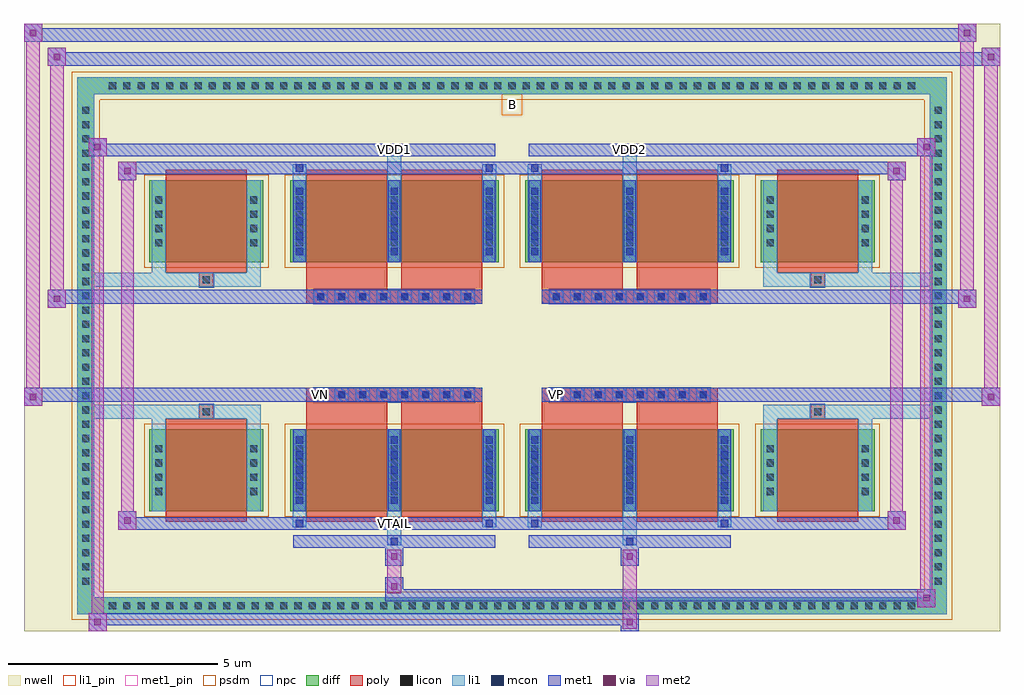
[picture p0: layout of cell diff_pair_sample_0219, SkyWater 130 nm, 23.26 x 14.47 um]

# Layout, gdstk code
import gdstk
lib = gdstk.Library(unit=1e-6, precision=5e-09)
def R(c, l, rs):  # rectangles x0, y0, x1, y1
    for r in rs: c.add(gdstk.rectangle(r[:2], r[2:], *l))
def A(c, l, x, y, w, h, nx, ny, dx, dy):  # array of equal rectangles
    R(c, l, [(x+i*dx, y+j*dy, x+i*dx+w, y+j*dy+h) for i in range(nx) for j in range(ny)])
def P(c, l, *ps):  # polygons
    for p in ps: c.add(gdstk.Polygon(p, *l))
nwell = (64, 20)
diff = (65, 20)
poly = (66, 20)
licon = (66, 44)
li1_pin = (67, 16)
li1 = (67, 20)
mcon = (67, 44)
met1_pin = (68, 16)
met1 = (68, 20)
via = (68, 44)
met2 = (69, 20)
psdm = (94, 20)
npc = (95, 20)

diff_pair_sample_0219 = lib.new_cell('diff_pair_sample_0219')
R(diff_pair_sample_0219, nwell, [(-11.63,-6.8,11.63,7.67), (-8.95,-4.99,-0.01,-0.805), (0.01,-4.99,8.95,-0.805), (-8.95,0.805,-0.01,4.99), (0.01,0.805,8.95,4.99)])
A(diff_pair_sample_0219, diff, -9.725, -6.4, 0.41, 0.41, 57, 2, 0.34, 12.39)
A(diff_pair_sample_0219, diff, -10.36, -5.815, 0.41, 0.41, 1, 34, 0, 0.34)
A(diff_pair_sample_0219, diff, 9.95, -5.815, 0.41, 0.41, 1, 34, 0, 0.34)
R(diff_pair_sample_0219, diff, [(-9.725,-6.4,9.725,-5.99), (-10.36,-5.815,-9.95,5.815), (9.95,-5.815,10.36,5.815), (-8.64,-3.945,-5.93,-1.985), (-5.29,-3.945,-0.32,-1.985), (0.32,-3.945,5.29,-1.985), (5.93,-3.945,8.64,-1.985), (-8.64,1.985,-5.93,3.945), (-5.29,1.985,-0.32,3.945), (0.32,1.985,5.29,3.945), (5.93,1.985,8.64,3.945), (-9.725,5.99,9.725,6.4)])
P(diff_pair_sample_0219, diff, [(10.36,6.4),(-10.36,6.4),(-10.36,-5.99),(-9.95,-5.99),(-9.95,5.99),(9.95,5.99),(9.95,-5.99),(-9.95,-5.99),(-10.36,-5.99),(-10.36,-6.4),(10.36,-6.4)])
A(diff_pair_sample_0219, poly, -4.72, -1.335, 0.33, 0.33, 8, 2, 0.5, 2.34)
A(diff_pair_sample_0219, poly, 0.89, -1.335, 0.33, 0.33, 8, 2, 0.5, 2.34)
R(diff_pair_sample_0219, poly, [(-8.25,-4.195,-6.32,-1.735), (-4.9,-4.195,-2.97,-1.735), (-2.64,-4.195,-0.71,-1.735), (0.71,-4.195,2.64,-1.735), (2.97,-4.195,4.9,-1.735), (6.32,-4.195,8.25,-1.735), (-7.45,-1.735,-7.12,-1.405), (-7.45,-1.735,-7.12,-1.405), (-4.9,-1.735,-2.97,-1.335), (-2.64,-1.735,-0.71,-1.335), (0.71,-1.735,2.64,-1.335), (2.97,-1.735,4.9,-1.335), (7.12,-1.735,7.45,-1.405), (7.12,-1.735,7.45,-1.405), (-4.9,-1.335,-0.71,-1.005), (0.71,-1.335,4.9,-1.005), (-4.9,1.005,-0.71,1.335), (0.71,1.005,4.9,1.335), (-4.9,1.335,-2.97,1.735), (-2.64,1.335,-0.71,1.735), (0.71,1.335,2.64,1.735), (2.97,1.335,4.9,1.735), (-7.45,1.405,-7.12,1.735), (-7.45,1.405,-7.12,1.735), (7.12,1.405,7.45,1.735), (7.12,1.405,7.45,1.735), (-8.25,1.735,-6.32,4.195), (-4.9,1.735,-2.97,4.195), (-2.64,1.735,-0.71,4.195), (0.71,1.735,2.64,4.195), (2.97,1.735,4.9,4.195), (6.32,1.735,8.25,4.195)])
A(diff_pair_sample_0219, licon, -9.605, -6.28, 0.17, 0.17, 57, 2, 0.34, 12.39)
A(diff_pair_sample_0219, licon, -10.24, -5.695, 0.17, 0.17, 1, 34, 0, 0.34)
A(diff_pair_sample_0219, licon, 10.07, -5.695, 0.17, 0.17, 1, 34, 0, 0.34)
A(diff_pair_sample_0219, licon, -8.5, -3.56, 0.17, 0.17, 1, 4, 0, 0.34)
A(diff_pair_sample_0219, licon, -6.24, -3.56, 0.17, 0.17, 1, 4, 0, 0.34)
A(diff_pair_sample_0219, licon, -5.15, -3.56, 0.17, 0.17, 3, 4, 2.26, 0.34)
A(diff_pair_sample_0219, licon, 0.46, -3.56, 0.17, 0.17, 3, 4, 2.26, 0.34)
A(diff_pair_sample_0219, licon, 6.07, -3.56, 0.17, 0.17, 1, 4, 0, 0.34)
A(diff_pair_sample_0219, licon, 8.33, -3.56, 0.17, 0.17, 1, 4, 0, 0.34)
A(diff_pair_sample_0219, licon, -4.64, -1.255, 0.17, 0.17, 8, 2, 0.5, 2.34)
A(diff_pair_sample_0219, licon, 0.97, -1.255, 0.17, 0.17, 8, 2, 0.5, 2.34)
A(diff_pair_sample_0219, licon, -8.5, 2.37, 0.17, 0.17, 1, 4, 0, 0.34)
A(diff_pair_sample_0219, licon, -6.24, 2.37, 0.17, 0.17, 1, 4, 0, 0.34)
A(diff_pair_sample_0219, licon, -5.15, 2.37, 0.17, 0.17, 3, 4, 2.26, 0.34)
A(diff_pair_sample_0219, licon, 0.46, 2.37, 0.17, 0.17, 3, 4, 2.26, 0.34)
A(diff_pair_sample_0219, licon, 6.07, 2.37, 0.17, 0.17, 1, 4, 0, 0.34)
A(diff_pair_sample_0219, licon, 8.33, 2.37, 0.17, 0.17, 1, 4, 0, 0.34)
R(diff_pair_sample_0219, licon, [(-7.37,-1.655,-7.2,-1.485), (7.2,-1.655,7.37,-1.485), (-7.37,1.485,-7.2,1.655), (7.2,1.485,7.37,1.655)])
R(diff_pair_sample_0219, li1_pin, [(-0.25,5.49,0.25,5.99)])
A(diff_pair_sample_0219, li1, -9.685, -6.36, 0.33, 0.33, 57, 2, 0.34, 12.39)
A(diff_pair_sample_0219, li1, -10.32, -5.775, 0.33, 0.33, 1, 34, 0, 0.34)
A(diff_pair_sample_0219, li1, 9.99, -5.775, 0.33, 0.33, 1, 34, 0, 0.34)
A(diff_pair_sample_0219, li1, -5.23, -3.945, 0.33, 1.96, 3, 2, 2.26, 5.93)
A(diff_pair_sample_0219, li1, 0.38, -3.945, 0.33, 1.96, 3, 2, 2.26, 5.93)
A(diff_pair_sample_0219, li1, -5.15, -3.77, 0.17, 0.17, 3, 5, 2.26, 0.36)
A(diff_pair_sample_0219, li1, -5.15, -3.77, 0.17, 1.61, 3, 2, 2.26, 5.93)
A(diff_pair_sample_0219, li1, 0.46, -3.77, 0.17, 0.17, 3, 5, 2.26, 0.36)
A(diff_pair_sample_0219, li1, 0.46, -3.77, 0.17, 1.61, 3, 2, 2.26, 5.93)
A(diff_pair_sample_0219, li1, -8.58, -3.64, 0.33, 0.33, 1, 4, 0, 0.34)
A(diff_pair_sample_0219, li1, -6.32, -3.64, 0.33, 0.33, 1, 4, 0, 0.34)
A(diff_pair_sample_0219, li1, -5.23, -3.64, 0.33, 0.33, 3, 4, 2.26, 0.34)
A(diff_pair_sample_0219, li1, 0.38, -3.64, 0.33, 0.33, 3, 4, 2.26, 0.34)
A(diff_pair_sample_0219, li1, 5.99, -3.64, 0.33, 0.33, 1, 4, 0, 0.34)
A(diff_pair_sample_0219, li1, 8.25, -3.64, 0.33, 0.33, 1, 4, 0, 0.34)
A(diff_pair_sample_0219, li1, -4.72, -1.335, 0.33, 0.33, 8, 2, 0.5, 2.34)
A(diff_pair_sample_0219, li1, 0.89, -1.335, 0.33, 0.33, 8, 2, 0.5, 2.34)
A(diff_pair_sample_0219, li1, -5.15, 2.16, 0.17, 0.17, 3, 5, 2.26, 0.36)
A(diff_pair_sample_0219, li1, 0.46, 2.16, 0.17, 0.17, 3, 5, 2.26, 0.36)
A(diff_pair_sample_0219, li1, -8.58, 2.29, 0.33, 0.33, 1, 4, 0, 0.34)
A(diff_pair_sample_0219, li1, -6.32, 2.29, 0.33, 0.33, 1, 4, 0, 0.34)
A(diff_pair_sample_0219, li1, -5.23, 2.29, 0.33, 0.33, 3, 4, 2.26, 0.34)
A(diff_pair_sample_0219, li1, 0.38, 2.29, 0.33, 0.33, 3, 4, 2.26, 0.34)
A(diff_pair_sample_0219, li1, 5.99, 2.29, 0.33, 0.33, 1, 4, 0, 0.34)
A(diff_pair_sample_0219, li1, 8.25, 2.29, 0.33, 0.33, 1, 4, 0, 0.34)
R(diff_pair_sample_0219, li1, [(-10.36,-6.4,-9.95,-5.99), (-10.36,-6.4,-9.95,-5.99), (-9.95,-6.4,9.95,-5.99), (9.95,-6.4,10.36,-5.99), (9.95,-6.4,10.36,-5.99), (-10.36,-5.99,-9.95,5.99), (9.95,-5.99,10.36,5.99), (-2.97,-4.75,-2.64,-3.945), (-2.89,-4.75,-2.72,-4.58), (2.64,-4.75,2.97,-3.945), (2.72,-4.75,2.89,-4.58), (-5.23,-4.32,-4.9,-3.945), (-5.15,-4.32,-4.98,-4.15), (-0.71,-4.32,-0.38,-3.945), (-0.63,-4.32,-0.46,-4.15), (0.38,-4.32,0.71,-3.945), (0.46,-4.32,0.63,-4.15), (4.9,-4.32,5.23,-3.945), (4.98,-4.32,5.15,-4.15), (-8.58,-3.945,-8.25,-1.985), (-6.32,-3.945,-5.99,-1.985), (5.99,-3.945,6.32,-1.985), (8.25,-3.945,8.58,-1.985), (-8.58,-1.985,-8.25,-1.405), (-6.32,-1.985,-5.99,-1.405), (5.99,-1.985,6.32,-1.405), (8.25,-1.985,8.58,-1.405), (-10.36,-1.735,-7.45,-1.405), (-8.58,-1.735,-7.45,-1.405), (-7.45,-1.735,-7.12,-1.405), (-7.12,-1.735,-5.99,-1.405), (5.99,-1.735,7.12,-1.405), (7.12,-1.735,7.45,-1.405), (7.12,-1.735,10.36,-1.405), (7.45,-1.735,8.58,-1.405), (-10.36,1.405,-7.45,1.735), (-8.58,1.405,-7.45,1.735), (-8.58,1.405,-8.25,1.985), (-7.45,1.405,-7.12,1.735), (-7.12,1.405,-5.99,1.735), (-6.32,1.405,-5.99,1.985), (5.99,1.405,7.12,1.735), (5.99,1.405,6.32,1.985), (7.12,1.405,7.45,1.735), (7.12,1.405,10.36,1.735), (7.45,1.405,8.58,1.735), (8.25,1.405,8.58,1.985), (-8.58,1.985,-8.25,3.945), (-6.32,1.985,-5.99,3.945), (5.99,1.985,6.32,3.945), (8.25,1.985,8.58,3.945), (-5.23,3.945,-4.9,4.32), (-2.97,3.945,-2.64,4.75), (-0.71,3.945,-0.38,4.32), (0.38,3.945,0.71,4.32), (2.64,3.945,2.97,4.75), (4.9,3.945,5.23,4.32), (-5.15,4.15,-4.98,4.32), (-0.63,4.15,-0.46,4.32), (0.46,4.15,0.63,4.32), (4.98,4.15,5.15,4.32), (-2.89,4.58,-2.72,4.75), (2.72,4.58,2.89,4.75), (-10.36,5.99,-9.95,6.4), (-10.36,5.99,-9.95,6.4), (-9.95,5.99,9.95,6.4), (9.95,5.99,10.36,6.4), (9.95,5.99,10.36,6.4)])
A(diff_pair_sample_0219, mcon, -5.15, -3.77, 0.17, 0.17, 3, 5, 2.26, 0.36)
A(diff_pair_sample_0219, mcon, 0.46, -3.77, 0.17, 0.17, 3, 5, 2.26, 0.36)
A(diff_pair_sample_0219, mcon, -4.64, -1.255, 0.17, 0.17, 8, 2, 0.5, 2.34)
A(diff_pair_sample_0219, mcon, 0.97, -1.255, 0.17, 0.17, 8, 2, 0.5, 2.34)
A(diff_pair_sample_0219, mcon, -5.15, 2.16, 0.17, 0.17, 3, 5, 2.26, 0.36)
A(diff_pair_sample_0219, mcon, 0.46, 2.16, 0.17, 0.17, 3, 5, 2.26, 0.36)
R(diff_pair_sample_0219, mcon, [(-2.89,-4.75,-2.72,-4.58), (2.72,-4.75,2.89,-4.58), (-5.15,-4.32,-4.98,-4.15), (-0.63,-4.32,-0.46,-4.15), (0.46,-4.32,0.63,-4.15), (4.98,-4.32,5.15,-4.15), (-5.15,4.15,-4.98,4.32), (-0.63,4.15,-0.46,4.32), (0.46,4.15,0.63,4.32), (4.98,4.15,5.15,4.32), (-2.89,4.58,-2.72,4.75), (2.72,4.58,2.89,4.75)])
R(diff_pair_sample_0219, met1_pin, [(-2.94,-4.36,-2.67,-4.09), (-4.69,-1.295,-4.42,-1.025), (0.92,-1.295,1.19,-1.025), (-2.94,4.54,-2.67,4.81), (2.67,4.54,2.94,4.81)])
A(diff_pair_sample_0219, met1, -5.21, -3.945, 0.29, 1.96, 3, 2, 2.26, 5.93)
A(diff_pair_sample_0219, met1, 0.4, -3.945, 0.29, 1.96, 3, 2, 2.26, 5.93)
A(diff_pair_sample_0219, met1, -5.21, -3.83, 0.29, 0.29, 3, 5, 2.26, 0.36)
A(diff_pair_sample_0219, met1, 0.4, -3.83, 0.29, 0.29, 3, 5, 2.26, 0.36)
A(diff_pair_sample_0219, met1, -4.7, -1.315, 0.29, 0.29, 8, 2, 0.5, 2.34)
A(diff_pair_sample_0219, met1, 0.91, -1.315, 0.29, 0.29, 8, 2, 0.5, 2.34)
A(diff_pair_sample_0219, met1, -5.21, 2.1, 0.29, 0.29, 3, 5, 2.26, 0.36)
A(diff_pair_sample_0219, met1, 0.4, 2.1, 0.29, 0.29, 3, 5, 2.26, 0.36)
R(diff_pair_sample_0219, met1, [(-10.09,-6.8,-9.66,-6.37), (2.59,-6.8,3.02,-6.37), (-10.09,-6.66,3.02,-6.37), (9.66,-6.23,10.09,-5.8), (-3.02,-6.09,10.09,-5.8), (-3.02,-5.95,-2.59,-5.52), (-3.02,-5.24,-2.59,-4.81), (2.59,-5.24,3.02,-4.81), (-5.21,-4.81,-0.4,-4.52), (-2.95,-4.81,-2.66,-4.52), (0.4,-4.81,5.21,-4.52), (2.66,-4.81,2.95,-4.52), (-9.38,-4.38,-8.95,-3.95), (-9.38,-4.38,-5.21,-4.09), (-5.21,-4.38,-4.92,-4.09), (-5.21,-4.38,-0.4,-4.09), (-0.69,-4.38,-0.4,-4.09), (-0.4,-4.38,0.4,-4.09), (0.4,-4.38,0.69,-4.09), (0.4,-4.38,5.21,-4.09), (4.92,-4.38,5.21,-4.09), (5.21,-4.38,9.38,-4.09), (8.95,-4.38,9.38,-3.95), (-11.63,-1.435,-11.2,-1.005), (11.2,-1.435,11.63,-1.005), (-11.63,-1.335,-0.71,-1.005), (-4.9,-1.335,-0.71,-1.005), (0.71,-1.335,4.9,-1.005), (0.71,-1.335,11.63,-1.005), (-11.06,0.905,-10.63,1.335), (10.63,0.905,11.06,1.335), (-11.06,1.005,-4.9,1.335), (-4.9,1.005,-0.71,1.335), (0.71,1.005,4.9,1.335), (4.9,1.005,11.06,1.335), (-9.38,3.95,-8.95,4.38), (8.95,3.95,9.38,4.38), (-9.38,4.09,-5.21,4.38), (-5.21,4.09,-4.92,4.38), (-5.21,4.09,-0.4,4.38), (-0.69,4.09,-0.4,4.38), (-0.4,4.09,0.4,4.38), (0.4,4.09,0.69,4.38), (0.4,4.09,5.21,4.38), (4.92,4.09,5.21,4.38), (5.21,4.09,9.38,4.38), (-10.09,4.52,-9.66,4.95), (-10.09,4.52,-5.21,4.81), (-5.21,4.52,-0.4,4.81), (-2.95,4.52,-2.66,4.81), (0.4,4.52,5.21,4.81), (2.66,4.52,2.95,4.81), (5.21,4.52,10.09,4.81), (9.66,4.52,10.09,4.95), (-11.06,6.67,-10.63,7.1), (-11.06,6.67,-8.95,7), (-8.95,6.67,8.95,7), (8.95,6.67,11.63,7), (11.2,6.67,11.63,7.1), (-11.63,7.24,-11.2,7.67), (-11.63,7.24,-8.95,7.57), (-8.95,7.24,8.95,7.57), (8.95,7.24,11.06,7.57), (10.63,7.24,11.06,7.67)])
R(diff_pair_sample_0219, via, [(-9.95,-6.66,-9.8,-6.51), (2.73,-6.66,2.88,-6.51), (9.8,-6.09,9.95,-5.94), (-2.88,-5.81,-2.73,-5.66), (-2.88,-5.1,-2.73,-4.95), (2.73,-5.1,2.88,-4.95), (-9.24,-4.24,-9.09,-4.09), (9.09,-4.24,9.24,-4.09), (-11.49,-1.295,-11.34,-1.145), (11.34,-1.295,11.49,-1.145), (-10.92,1.045,-10.77,1.195), (10.77,1.045,10.92,1.195), (-9.24,4.09,-9.09,4.24), (9.09,4.09,9.24,4.24), (-9.95,4.66,-9.8,4.81), (9.8,4.66,9.95,4.81), (-10.92,6.81,-10.77,6.96), (11.34,6.81,11.49,6.96), (-11.49,7.38,-11.34,7.53), (10.77,7.38,10.92,7.53)])
R(diff_pair_sample_0219, met2, [(-10.09,-6.8,-9.66,-6.37), (-10.02,-6.8,-9.73,4.95), (-9.73,-6.8,-9.66,-6.37), (-10.04,-6.75,-9.71,-6.42), (2.64,-6.75,2.97,-6.42), (2.64,-6.42,2.97,-5.19), (9.66,-6.23,10.09,-5.8), (9.73,-6.23,10.02,4.95), (10.02,-6.23,10.09,-5.8), (9.71,-6.18,10.04,-5.85), (-2.97,-5.9,-2.64,-5.57), (-2.97,-5.57,-2.64,-5.19), (-2.97,-5.19,-2.64,-4.86), (2.64,-5.19,2.97,-4.86), (-9.38,-4.38,-8.95,-3.95), (-9.31,-4.38,-9.02,4.38), (-9.02,-4.38,-8.95,-3.95), (8.95,-4.38,9.38,-3.95), (9.02,-4.38,9.31,4.38), (9.31,-4.38,9.38,-3.95), (-9.33,-4.33,-9,-4), (9,-4.33,9.33,-4), (-11.63,-1.435,-11.2,-1.005), (-11.58,-1.435,-11.25,7.67), (-11.25,-1.435,-11.2,-1.005), (11.2,-1.435,11.63,-1.005), (11.25,-1.435,11.58,7.1), (11.58,-1.435,11.63,-1.005), (-11.58,-1.385,-11.25,-1.055), (11.25,-1.385,11.58,-1.055), (-11.06,0.905,-10.63,1.335), (-11.01,0.905,-10.68,7.1), (-10.68,0.905,-10.63,1.335), (10.63,0.905,11.06,1.335), (10.68,0.905,11.01,7.67), (11.01,0.905,11.06,1.335), (-11.01,0.955,-10.68,1.285), (10.68,0.955,11.01,1.285), (-9.38,3.95,-8.95,4.38), (-9.02,3.95,-8.95,4.38), (8.95,3.95,9.38,4.38), (9.31,3.95,9.38,4.38), (-9.33,4,-9,4.33), (9,4,9.33,4.33), (-10.09,4.52,-9.66,4.95), (-9.73,4.52,-9.66,4.95), (9.66,4.52,10.09,4.95), (10.02,4.52,10.09,4.95), (-10.04,4.57,-9.71,4.9), (9.71,4.57,10.04,4.9), (-11.06,6.67,-10.63,7.1), (-10.68,6.67,-10.63,7.1), (11.2,6.67,11.63,7.1), (11.58,6.67,11.63,7.1), (-11.01,6.72,-10.68,7.05), (11.25,6.72,11.58,7.05), (-11.63,7.24,-11.2,7.67), (-11.25,7.24,-11.2,7.67), (10.63,7.24,11.06,7.67), (11.01,7.24,11.06,7.67), (-11.58,7.29,-11.25,7.62), (10.68,7.29,11.01,7.62)])
R(diff_pair_sample_0219, psdm, [(-8.77,-4.075,-5.8,-1.855), (-5.42,-4.075,-0.19,-1.855), (0.19,-4.075,5.42,-1.855), (5.8,-4.075,8.77,-1.855), (-8.77,1.855,-5.8,4.075), (-5.42,1.855,-0.19,4.075), (0.19,1.855,5.42,4.075), (5.8,1.855,8.77,4.075)])
P(diff_pair_sample_0219, psdm, [(10.49,6.53),(-10.49,6.53),(-10.49,-5.86),(-9.82,-5.86),(-9.82,5.86),(9.82,5.86),(9.82,-5.86),(-9.82,-5.86),(-10.49,-5.86),(-10.49,-6.53),(10.49,-6.53)])
A(diff_pair_sample_0219, npc, -4.74, -1.355, 0.37, 0.37, 8, 2, 0.5, 2.34)
A(diff_pair_sample_0219, npc, 0.87, -1.355, 0.37, 0.37, 8, 2, 0.5, 2.34)
R(diff_pair_sample_0219, npc, [(-7.47,-1.755,-7.1,-1.385), (7.1,-1.755,7.47,-1.385), (-4.74,-1.355,-3.87,-0.985), (-4.74,-1.355,-3.87,-0.985), (-4.24,-1.355,-3.37,-0.985), (-4.24,-1.355,-3.37,-0.985), (-3.74,-1.355,-2.87,-0.985), (-3.74,-1.355,-2.87,-0.985), (-3.24,-1.355,-2.37,-0.985), (-3.24,-1.355,-2.37,-0.985), (-2.74,-1.355,-1.87,-0.985), (-2.74,-1.355,-1.87,-0.985), (-2.24,-1.355,-1.37,-0.985), (-2.24,-1.355,-1.37,-0.985), (-1.74,-1.355,-0.87,-0.985), (-1.74,-1.355,-0.87,-0.985), (0.87,-1.355,1.74,-0.985), (0.87,-1.355,1.74,-0.985), (1.37,-1.355,2.24,-0.985), (1.37,-1.355,2.24,-0.985), (1.87,-1.355,2.74,-0.985), (1.87,-1.355,2.74,-0.985), (2.37,-1.355,3.24,-0.985), (2.37,-1.355,3.24,-0.985), (2.87,-1.355,3.74,-0.985), (2.87,-1.355,3.74,-0.985), (3.37,-1.355,4.24,-0.985), (3.37,-1.355,4.24,-0.985), (3.87,-1.355,4.74,-0.985), (3.87,-1.355,4.74,-0.985), (-4.74,0.985,-3.87,1.355), (-4.74,0.985,-3.87,1.355), (-4.24,0.985,-3.37,1.355), (-4.24,0.985,-3.37,1.355), (-3.74,0.985,-2.87,1.355), (-3.74,0.985,-2.87,1.355), (-3.24,0.985,-2.37,1.355), (-3.24,0.985,-2.37,1.355), (-2.74,0.985,-1.87,1.355), (-2.74,0.985,-1.87,1.355), (-2.24,0.985,-1.37,1.355), (-2.24,0.985,-1.37,1.355), (-1.74,0.985,-0.87,1.355), (-1.74,0.985,-0.87,1.355), (0.87,0.985,1.74,1.355), (0.87,0.985,1.74,1.355), (1.37,0.985,2.24,1.355), (1.37,0.985,2.24,1.355), (1.87,0.985,2.74,1.355), (1.87,0.985,2.74,1.355), (2.37,0.985,3.24,1.355), (2.37,0.985,3.24,1.355), (2.87,0.985,3.74,1.355), (2.87,0.985,3.74,1.355), (3.37,0.985,4.24,1.355), (3.37,0.985,4.24,1.355), (3.87,0.985,4.74,1.355), (3.87,0.985,4.74,1.355), (-7.47,1.385,-7.1,1.755), (7.1,1.385,7.47,1.755)])
diff_pair_sample_0219.add(gdstk.Label('VTAIL', (-2.805,-4.225), layer=68, texttype=5))
diff_pair_sample_0219.add(gdstk.Label('VN', (-4.555,-1.16), layer=68, texttype=5))
diff_pair_sample_0219.add(gdstk.Label('VP', (1.055,-1.16), layer=68, texttype=5))
diff_pair_sample_0219.add(gdstk.Label('B', (0,5.74), layer=67, texttype=5))
diff_pair_sample_0219.add(gdstk.Label('VDD2', (2.805,4.675), layer=68, texttype=5))
diff_pair_sample_0219.add(gdstk.Label('VDD1', (-2.805,4.675), layer=68, texttype=5))

lib.write_gds('diff_pair_sample_0219.gds')
